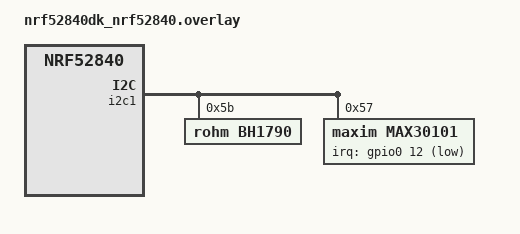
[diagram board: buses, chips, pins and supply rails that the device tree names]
/*
 * Copyright (c) 2025, Magpie Embedded
 *
 * SPDX-License-Identifier: Apache-2.0
 */

/ {
	aliases {
		heart-rate-sensor = &max30101;
	};
};

&i2c1 {
	compatible = "nordic,nrf-twi";
	status = "okay";
	pinctrl-0 = <&i2c0_default>;
	pinctrl-1 = <&i2c0_sleep>;
	pinctrl-names = "default", "sleep";

	bh1790: bh1790@5b {
		compatible = "rohm,bh1790";
		reg = <0x5b>;
	};

	/* Example configuration of a MAX30101 device on an I2C bus. */
	max30101: max30101@57 {
		compatible = "maxim,max30101";
		reg = <0x57>;
		acq-mode = "multi-led";
		led-slot = <3 0 0 0>;
		irq-gpios = <&gpio0 12 GPIO_ACTIVE_LOW>;
	};
};
